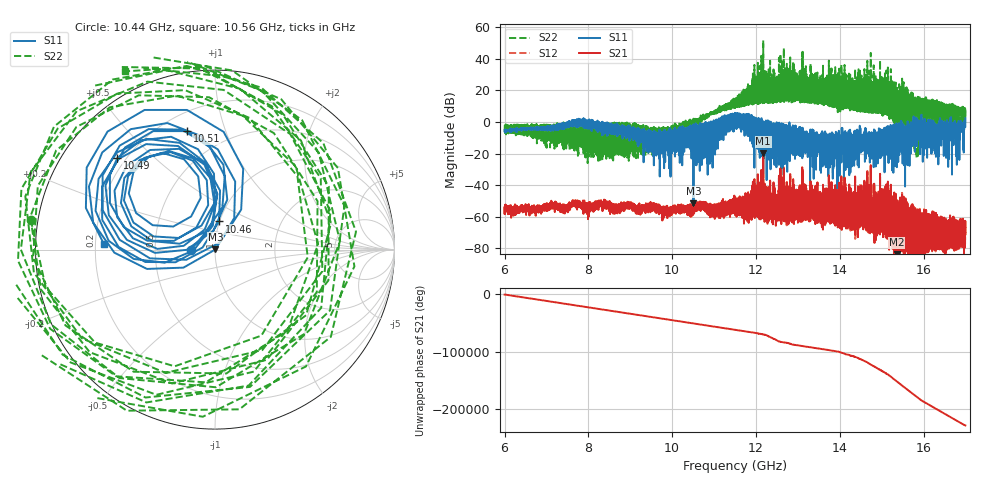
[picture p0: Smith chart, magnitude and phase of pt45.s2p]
#  HZ  S  RI  R  50.00
! Rohde & Schwarz Vector Network Analyzer
! Rohde-Schwarz,ZNA67-2Port,1332450062101215,3.01
! Created: UTC 10/15/2026, 4:51:42 PM
! freq[Hz]  re:S11  im:S11  re:S21  im:S21  re:S12  im:S12  re:S22  im:S22
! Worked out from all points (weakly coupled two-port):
!   11001 points, 6 GHz to 17 GHz, reference 50 ohm
!   highest |S21| = -19.90 dB at 12.17 GHz (marker M1); lowest = -92.0 dB at 15.37 GHz (marker M2)
!   lowest |S11| = -51.5 dB at 10.51 GHz (marker M3), VSWR 1.01, Z = 50.2 + j0.102 ohm
!   |S11| at or under -10 dB: 13.47954 GHz to 13.51908 GHz (39.54 MHz wide, 0.293 % of centre); 13.60805 GHz to 13.6468 GHz (38.75 MHz wide, 0.284 % of centre); 13.77208 GHz to 13.80238 GHz (30.3 MHz wide, 0.22 % of centre) (the widest 3 of 530)
!   |S22| runs from -26.1 to 51.5 dB; largest |S21 - S12| = 0.0079
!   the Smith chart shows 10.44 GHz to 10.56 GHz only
!   S11 on the Smith chart (normalised r, x): 10.44 GHz: 0.76, -0.00; 10.46 GHz: 0.99, +0.32; 10.49 GHz: 0.17, +0.39; 10.51 GHz: 0.31, +0.75; 10.56 GHz: 0.23, +0.02
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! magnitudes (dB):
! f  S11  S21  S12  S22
! 6 GHz  -5.1  -53.9  -53.8  -6.4
! 7.834 GHz  -0.5  -52.7  -52.6  -6.1
! 9.667 GHz  -12.8  -54.4  -54.4  -6.6
! 10.44 GHz  -17.4  -54.9  -54.9  0.3
! 10.46 GHz  -16.0  -55.8  -56.0  -0.9
! 10.49 GHz  -2.5  -53.5  -53.7  -2.2
! 10.51 GHz  -51.5  -53.9  -54.1  1.4
! 10.51 GHz  -3.4  -52.2  -52.2  -3.4
! 10.56 GHz  -4.2  -56.4  -56.5  0.9
! 11.5 GHz  5.4  -53.6  -53.3  10.5
! 12.17 GHz  -32.8  -19.9  -19.3  51.5
! 12.64 GHz  -5.0  -61.1  -60.8  13.9
! 13.33 GHz  -9.2  -55.9  -55.7  15.7
! 14.15 GHz  -12.3  -57.3  -57.3  14.5
! 15.17 GHz  -9.1  -70.9  -70.8  5.2
! 15.37 GHz  -9.4  -92.0  -91.4  -0.3
! 15.56 GHz  -3.3  -80.1  -80.3  -2.9
! 15.8 GHz  -6.0  -58.4  -58.7  11.5
! 16.31 GHz  -3.7  -80.2  -80.5  -7.6
! 16.42 GHz  -9.5  -60.4  -60.0  12.4
! 16.57 GHz  -0.4  -80.4  -79.8  -4.3
! 17 GHz  2.2  -71.0  -70.6  1.8
